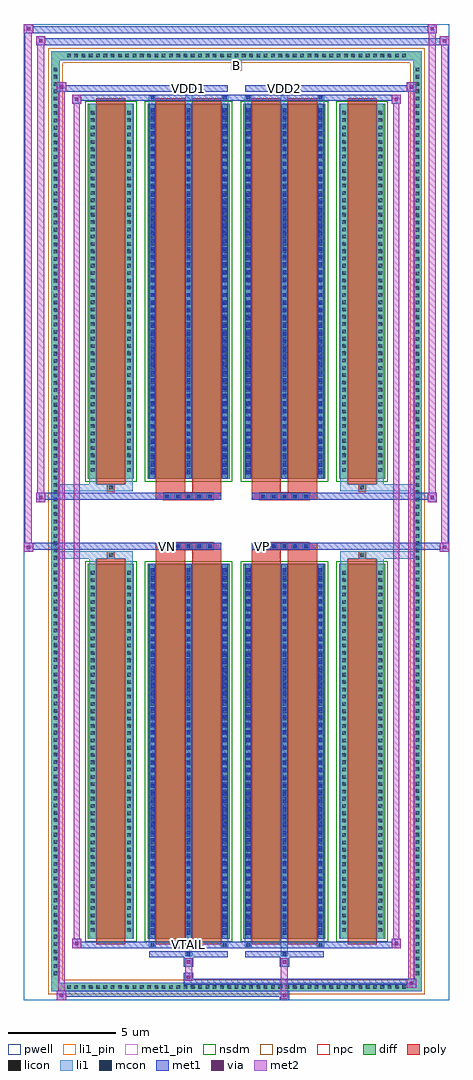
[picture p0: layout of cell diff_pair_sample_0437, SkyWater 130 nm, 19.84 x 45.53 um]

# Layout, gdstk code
import gdstk
lib = gdstk.Library(unit=1e-6, precision=5e-09)
def R(c, l, rs):  # rectangles x0, y0, x1, y1
    for r in rs: c.add(gdstk.rectangle(r[:2], r[2:], *l))
def A(c, l, x, y, w, h, nx, ny, dx, dy):  # array of equal rectangles
    R(c, l, [(x+i*dx, y+j*dy, x+i*dx+w, y+j*dy+h) for i in range(nx) for j in range(ny)])
def P(c, l, *ps):  # polygons
    for p in ps: c.add(gdstk.Polygon(p, *l))
pwell = (64, 44)
diff = (65, 20)
poly = (66, 20)
licon = (66, 44)
li1_pin = (67, 16)
li1 = (67, 20)
mcon = (67, 44)
met1_pin = (68, 16)
met1 = (68, 20)
via = (68, 44)
met2 = (69, 20)
nsdm = (93, 44)
psdm = (94, 20)
npc = (95, 20)

diff_pair_sample_0437 = lib.new_cell('diff_pair_sample_0437')
R(diff_pair_sample_0437, pwell, [(-9.92,-22.33,9.92,23.2), (-7.24,-20.52,-0.01,-0.8), (0.01,-20.52,7.24,-0.8), (-7.24,0.8,-0.01,20.52), (0.01,0.8,7.24,20.52)])
A(diff_pair_sample_0437, diff, -8.025, -21.93, 0.41, 0.41, 47, 2, 0.34, 43.45)
A(diff_pair_sample_0437, diff, -8.65, -21.285, 0.41, 0.41, 1, 125, 0, 0.34)
A(diff_pair_sample_0437, diff, 8.24, -21.285, 0.41, 0.41, 1, 125, 0, 0.34)
R(diff_pair_sample_0437, diff, [(-8.025,-21.93,8.025,-21.52), (-8.65,-21.285,-8.24,21.285), (8.24,-21.285,8.65,21.285), (-6.93,-19.475,-4.79,-1.985), (-4.15,-19.475,-0.32,-1.985), (0.32,-19.475,4.15,-1.985), (4.79,-19.475,6.93,-1.985), (-6.93,1.985,-4.79,19.475), (-4.15,1.985,-0.32,19.475), (0.32,1.985,4.15,19.475), (4.79,1.985,6.93,19.475), (-8.025,21.52,8.025,21.93)])
P(diff_pair_sample_0437, diff, [(8.65,21.93),(-8.65,21.93),(-8.65,-21.52),(-8.24,-21.52),(-8.24,21.52),(8.24,21.52),(8.24,-21.52),(-8.24,-21.52),(-8.65,-21.52),(-8.65,-21.93),(8.65,-21.93)])
A(diff_pair_sample_0437, poly, -3.4, -1.33, 0.33, 0.33, 5, 2, 0.5, 2.33)
A(diff_pair_sample_0437, poly, 1.07, -1.33, 0.33, 0.33, 5, 2, 0.5, 2.33)
R(diff_pair_sample_0437, poly, [(-6.54,-19.725,-5.18,-1.735), (-3.76,-19.725,-2.4,-1.735), (-2.07,-19.725,-0.71,-1.735), (0.71,-19.725,2.07,-1.735), (2.4,-19.725,3.76,-1.735), (5.18,-19.725,6.54,-1.735), (-6.025,-1.735,-5.695,-1.405), (-6.025,-1.735,-5.695,-1.405), (-3.76,-1.735,-2.4,-1.33), (-2.07,-1.735,-0.71,-1.33), (0.71,-1.735,2.07,-1.33), (2.4,-1.735,3.76,-1.33), (5.695,-1.735,6.025,-1.405), (5.695,-1.735,6.025,-1.405), (-3.76,-1.33,-0.71,-1), (0.71,-1.33,3.76,-1), (-3.76,1,-0.71,1.33), (0.71,1,3.76,1.33), (-3.76,1.33,-2.4,1.735), (-2.07,1.33,-0.71,1.735), (0.71,1.33,2.07,1.735), (2.4,1.33,3.76,1.735), (-6.025,1.405,-5.695,1.735), (-6.025,1.405,-5.695,1.735), (5.695,1.405,6.025,1.735), (5.695,1.405,6.025,1.735), (-6.54,1.735,-5.18,19.725), (-3.76,1.735,-2.4,19.725), (-2.07,1.735,-0.71,19.725), (0.71,1.735,2.07,19.725), (2.4,1.735,3.76,19.725), (5.18,1.735,6.54,19.725)])
A(diff_pair_sample_0437, licon, -7.905, -21.81, 0.17, 0.17, 47, 2, 0.34, 43.45)
A(diff_pair_sample_0437, licon, -8.53, -21.165, 0.17, 0.17, 1, 125, 0, 0.34)
A(diff_pair_sample_0437, licon, 8.36, -21.165, 0.17, 0.17, 1, 125, 0, 0.34)
A(diff_pair_sample_0437, licon, -6.79, -19.145, 0.17, 0.17, 1, 50, 0, 0.34)
A(diff_pair_sample_0437, licon, -5.1, -19.145, 0.17, 0.17, 1, 50, 0, 0.34)
A(diff_pair_sample_0437, licon, -4.01, -19.145, 0.17, 0.17, 3, 50, 1.69, 0.34)
A(diff_pair_sample_0437, licon, 0.46, -19.145, 0.17, 0.17, 3, 50, 1.69, 0.34)
A(diff_pair_sample_0437, licon, 4.93, -19.145, 0.17, 0.17, 1, 50, 0, 0.34)
A(diff_pair_sample_0437, licon, 6.62, -19.145, 0.17, 0.17, 1, 50, 0, 0.34)
A(diff_pair_sample_0437, licon, -3.32, -1.25, 0.17, 0.17, 5, 2, 0.5, 2.33)
A(diff_pair_sample_0437, licon, 1.15, -1.25, 0.17, 0.17, 5, 2, 0.5, 2.33)
A(diff_pair_sample_0437, licon, -6.79, 2.315, 0.17, 0.17, 1, 50, 0, 0.34)
A(diff_pair_sample_0437, licon, -5.1, 2.315, 0.17, 0.17, 1, 50, 0, 0.34)
A(diff_pair_sample_0437, licon, -4.01, 2.315, 0.17, 0.17, 3, 50, 1.69, 0.34)
A(diff_pair_sample_0437, licon, 0.46, 2.315, 0.17, 0.17, 3, 50, 1.69, 0.34)
A(diff_pair_sample_0437, licon, 4.93, 2.315, 0.17, 0.17, 1, 50, 0, 0.34)
A(diff_pair_sample_0437, licon, 6.62, 2.315, 0.17, 0.17, 1, 50, 0, 0.34)
R(diff_pair_sample_0437, licon, [(-5.945,-1.655,-5.775,-1.485), (5.775,-1.655,5.945,-1.485), (-5.945,1.485,-5.775,1.655), (5.775,1.485,5.945,1.655)])
R(diff_pair_sample_0437, li1_pin, [(-0.25,21.02,0.25,21.52)])
A(diff_pair_sample_0437, li1, -7.985, -21.89, 0.33, 0.33, 47, 2, 0.34, 43.45)
A(diff_pair_sample_0437, li1, -8.61, -21.245, 0.33, 0.33, 1, 125, 0, 0.34)
A(diff_pair_sample_0437, li1, 8.28, -21.245, 0.33, 0.33, 1, 125, 0, 0.34)
A(diff_pair_sample_0437, li1, -4.09, -19.475, 0.33, 17.49, 3, 2, 1.69, 21.46)
A(diff_pair_sample_0437, li1, 0.38, -19.475, 0.33, 17.49, 3, 2, 1.69, 21.46)
A(diff_pair_sample_0437, li1, -4.01, -19.275, 0.17, 0.17, 3, 48, 1.69, 0.36)
A(diff_pair_sample_0437, li1, -4.01, -19.275, 0.17, 17.09, 3, 2, 1.69, 21.46)
A(diff_pair_sample_0437, li1, 0.46, -19.275, 0.17, 0.17, 3, 48, 1.69, 0.36)
A(diff_pair_sample_0437, li1, 0.46, -19.275, 0.17, 17.09, 3, 2, 1.69, 21.46)
A(diff_pair_sample_0437, li1, -6.87, -19.225, 0.33, 0.33, 1, 50, 0, 0.34)
A(diff_pair_sample_0437, li1, -5.18, -19.225, 0.33, 0.33, 1, 50, 0, 0.34)
A(diff_pair_sample_0437, li1, -4.09, -19.225, 0.33, 0.33, 3, 50, 1.69, 0.34)
A(diff_pair_sample_0437, li1, 0.38, -19.225, 0.33, 0.33, 3, 50, 1.69, 0.34)
A(diff_pair_sample_0437, li1, 4.85, -19.225, 0.33, 0.33, 1, 50, 0, 0.34)
A(diff_pair_sample_0437, li1, 6.54, -19.225, 0.33, 0.33, 1, 50, 0, 0.34)
A(diff_pair_sample_0437, li1, -3.4, -1.33, 0.33, 0.33, 5, 2, 0.5, 2.33)
A(diff_pair_sample_0437, li1, 1.07, -1.33, 0.33, 0.33, 5, 2, 0.5, 2.33)
A(diff_pair_sample_0437, li1, -4.01, 2.185, 0.17, 0.17, 3, 48, 1.69, 0.36)
A(diff_pair_sample_0437, li1, 0.46, 2.185, 0.17, 0.17, 3, 48, 1.69, 0.36)
A(diff_pair_sample_0437, li1, -6.87, 2.235, 0.33, 0.33, 1, 50, 0, 0.34)
A(diff_pair_sample_0437, li1, -5.18, 2.235, 0.33, 0.33, 1, 50, 0, 0.34)
A(diff_pair_sample_0437, li1, -4.09, 2.235, 0.33, 0.33, 3, 50, 1.69, 0.34)
A(diff_pair_sample_0437, li1, 0.38, 2.235, 0.33, 0.33, 3, 50, 1.69, 0.34)
A(diff_pair_sample_0437, li1, 4.85, 2.235, 0.33, 0.33, 1, 50, 0, 0.34)
A(diff_pair_sample_0437, li1, 6.54, 2.235, 0.33, 0.33, 1, 50, 0, 0.34)
R(diff_pair_sample_0437, li1, [(-8.65,-21.93,-8.24,-21.52), (-8.65,-21.93,-8.24,-21.52), (-8.24,-21.93,8.24,-21.52), (8.24,-21.93,8.65,-21.52), (8.24,-21.93,8.65,-21.52), (-8.65,-21.52,-8.24,21.52), (8.24,-21.52,8.65,21.52), (-2.4,-20.28,-2.07,-19.475), (-2.32,-20.28,-2.15,-20.11), (2.07,-20.28,2.4,-19.475), (2.15,-20.28,2.32,-20.11), (-4.09,-19.85,-3.76,-19.475), (-4.01,-19.85,-3.84,-19.68), (-0.71,-19.85,-0.38,-19.475), (-0.63,-19.85,-0.46,-19.68), (0.38,-19.85,0.71,-19.475), (0.46,-19.85,0.63,-19.68), (3.76,-19.85,4.09,-19.475), (3.84,-19.85,4.01,-19.68), (-6.87,-19.475,-6.54,-1.985), (-5.18,-19.475,-4.85,-1.985), (4.85,-19.475,5.18,-1.985), (6.54,-19.475,6.87,-1.985), (-6.87,-1.985,-6.54,-1.405), (-5.18,-1.985,-4.85,-1.405), (4.85,-1.985,5.18,-1.405), (6.54,-1.985,6.87,-1.405), (-8.65,-1.735,-6.025,-1.405), (-6.87,-1.735,-6.025,-1.405), (-6.025,-1.735,-5.695,-1.405), (-5.695,-1.735,-4.85,-1.405), (4.85,-1.735,5.695,-1.405), (5.695,-1.735,6.025,-1.405), (5.695,-1.735,8.65,-1.405), (6.025,-1.735,6.87,-1.405), (-8.65,1.405,-6.025,1.735), (-6.87,1.405,-6.025,1.735), (-6.87,1.405,-6.54,1.985), (-6.025,1.405,-5.695,1.735), (-5.695,1.405,-4.85,1.735), (-5.18,1.405,-4.85,1.985), (4.85,1.405,5.695,1.735), (4.85,1.405,5.18,1.985), (5.695,1.405,6.025,1.735), (5.695,1.405,8.65,1.735), (6.025,1.405,6.87,1.735), (6.54,1.405,6.87,1.985), (-6.87,1.985,-6.54,19.475), (-5.18,1.985,-4.85,19.475), (4.85,1.985,5.18,19.475), (6.54,1.985,6.87,19.475), (-4.09,19.475,-3.76,19.85), (-2.4,19.475,-2.07,20.28), (-0.71,19.475,-0.38,19.85), (0.38,19.475,0.71,19.85), (2.07,19.475,2.4,20.28), (3.76,19.475,4.09,19.85), (-4.01,19.68,-3.84,19.85), (-0.63,19.68,-0.46,19.85), (0.46,19.68,0.63,19.85), (3.84,19.68,4.01,19.85), (-2.32,20.11,-2.15,20.28), (2.15,20.11,2.32,20.28), (-8.65,21.52,-8.24,21.93), (-8.65,21.52,-8.24,21.93), (-8.24,21.52,8.24,21.93), (8.24,21.52,8.65,21.93), (8.24,21.52,8.65,21.93)])
A(diff_pair_sample_0437, mcon, -4.01, -19.275, 0.17, 0.17, 3, 48, 1.69, 0.36)
A(diff_pair_sample_0437, mcon, 0.46, -19.275, 0.17, 0.17, 3, 48, 1.69, 0.36)
A(diff_pair_sample_0437, mcon, -3.32, -1.25, 0.17, 0.17, 5, 2, 0.5, 2.33)
A(diff_pair_sample_0437, mcon, 1.15, -1.25, 0.17, 0.17, 5, 2, 0.5, 2.33)
A(diff_pair_sample_0437, mcon, -4.01, 2.185, 0.17, 0.17, 3, 48, 1.69, 0.36)
A(diff_pair_sample_0437, mcon, 0.46, 2.185, 0.17, 0.17, 3, 48, 1.69, 0.36)
R(diff_pair_sample_0437, mcon, [(-2.32,-20.28,-2.15,-20.11), (2.15,-20.28,2.32,-20.11), (-4.01,-19.85,-3.84,-19.68), (-0.63,-19.85,-0.46,-19.68), (0.46,-19.85,0.63,-19.68), (3.84,-19.85,4.01,-19.68), (-4.01,19.68,-3.84,19.85), (-0.63,19.68,-0.46,19.85), (0.46,19.68,0.63,19.85), (3.84,19.68,4.01,19.85), (-2.32,20.11,-2.15,20.28), (2.15,20.11,2.32,20.28)])
R(diff_pair_sample_0437, met1_pin, [(-2.37,-19.89,-2.1,-19.62), (-3.37,-1.29,-3.1,-1.02), (1.1,-1.29,1.37,-1.02), (-2.37,20.07,-2.1,20.34), (2.1,20.07,2.37,20.34)])
A(diff_pair_sample_0437, met1, -4.07, -19.475, 0.29, 17.49, 3, 2, 1.69, 21.46)
A(diff_pair_sample_0437, met1, 0.4, -19.475, 0.29, 17.49, 3, 2, 1.69, 21.46)
A(diff_pair_sample_0437, met1, -4.07, -19.335, 0.29, 0.29, 3, 48, 1.69, 0.36)
A(diff_pair_sample_0437, met1, 0.4, -19.335, 0.29, 0.29, 3, 48, 1.69, 0.36)
A(diff_pair_sample_0437, met1, -3.38, -1.31, 0.29, 0.29, 5, 2, 0.5, 2.33)
A(diff_pair_sample_0437, met1, 1.09, -1.31, 0.29, 0.29, 5, 2, 0.5, 2.33)
A(diff_pair_sample_0437, met1, -4.07, 2.125, 0.29, 0.29, 3, 48, 1.69, 0.36)
A(diff_pair_sample_0437, met1, 0.4, 2.125, 0.29, 0.29, 3, 48, 1.69, 0.36)
R(diff_pair_sample_0437, met1, [(-8.38,-22.33,-7.95,-21.9), (2.02,-22.33,2.45,-21.9), (-8.38,-22.19,2.45,-21.9), (7.95,-21.76,8.38,-21.33), (-2.45,-21.62,8.38,-21.33), (-2.45,-21.48,-2.02,-21.05), (-2.45,-20.77,-2.02,-20.34), (2.02,-20.77,2.45,-20.34), (-4.07,-20.34,-0.4,-20.05), (-2.38,-20.34,-2.09,-20.05), (0.4,-20.34,4.07,-20.05), (2.09,-20.34,2.38,-20.05), (-7.67,-19.91,-7.24,-19.48), (-7.67,-19.91,-4.07,-19.62), (-4.07,-19.91,-3.78,-19.62), (-4.07,-19.91,-0.4,-19.62), (-0.69,-19.91,-0.4,-19.62), (-0.4,-19.91,0.4,-19.62), (0.4,-19.91,0.69,-19.62), (0.4,-19.91,4.07,-19.62), (3.78,-19.91,4.07,-19.62), (4.07,-19.91,7.67,-19.62), (7.24,-19.91,7.67,-19.48), (-9.92,-1.43,-9.49,-1), (9.49,-1.43,9.92,-1), (-9.92,-1.33,-0.71,-1), (-3.76,-1.33,-0.71,-1), (0.71,-1.33,3.76,-1), (0.71,-1.33,9.92,-1), (-9.35,0.9,-8.92,1.33), (8.92,0.9,9.35,1.33), (-9.35,1,-3.76,1.33), (-3.76,1,-0.71,1.33), (0.71,1,3.76,1.33), (3.76,1,9.35,1.33), (-7.67,19.48,-7.24,19.91), (7.24,19.48,7.67,19.91), (-7.67,19.62,-4.07,19.91), (-4.07,19.62,-3.78,19.91), (-4.07,19.62,-0.4,19.91), (-0.69,19.62,-0.4,19.91), (-0.4,19.62,0.4,19.91), (0.4,19.62,0.69,19.91), (0.4,19.62,4.07,19.91), (3.78,19.62,4.07,19.91), (4.07,19.62,7.67,19.91), (-8.38,20.05,-7.95,20.48), (-8.38,20.05,-4.07,20.34), (-4.07,20.05,-0.4,20.34), (-2.38,20.05,-2.09,20.34), (0.4,20.05,4.07,20.34), (2.09,20.05,2.38,20.34), (4.07,20.05,8.38,20.34), (7.95,20.05,8.38,20.48), (-9.35,22.2,-8.92,22.63), (-9.35,22.2,-7.24,22.53), (-7.24,22.2,7.24,22.53), (7.24,22.2,9.92,22.53), (9.49,22.2,9.92,22.63), (-9.92,22.77,-9.49,23.2), (-9.92,22.77,-7.24,23.1), (-7.24,22.77,7.24,23.1), (7.24,22.77,9.35,23.1), (8.92,22.77,9.35,23.2)])
R(diff_pair_sample_0437, via, [(-8.24,-22.19,-8.09,-22.04), (2.16,-22.19,2.31,-22.04), (8.09,-21.62,8.24,-21.47), (-2.31,-21.34,-2.16,-21.19), (-2.31,-20.63,-2.16,-20.48), (2.16,-20.63,2.31,-20.48), (-7.53,-19.77,-7.38,-19.62), (7.38,-19.77,7.53,-19.62), (-9.78,-1.29,-9.63,-1.14), (9.63,-1.29,9.78,-1.14), (-9.21,1.04,-9.06,1.19), (9.06,1.04,9.21,1.19), (-7.53,19.62,-7.38,19.77), (7.38,19.62,7.53,19.77), (-8.24,20.19,-8.09,20.34), (8.09,20.19,8.24,20.34), (-9.21,22.34,-9.06,22.49), (9.63,22.34,9.78,22.49), (-9.78,22.91,-9.63,23.06), (9.06,22.91,9.21,23.06)])
R(diff_pair_sample_0437, met2, [(-8.38,-22.33,-7.95,-21.9), (-8.31,-22.33,-8.02,20.48), (-8.02,-22.33,-7.95,-21.9), (-8.33,-22.28,-8,-21.95), (2.07,-22.28,2.4,-21.95), (2.07,-21.95,2.4,-20.72), (7.95,-21.76,8.38,-21.33), (8.02,-21.76,8.31,20.48), (8.31,-21.76,8.38,-21.33), (8,-21.71,8.33,-21.38), (-2.4,-21.43,-2.07,-21.1), (-2.4,-21.1,-2.07,-20.72), (-2.4,-20.72,-2.07,-20.39), (2.07,-20.72,2.4,-20.39), (-7.67,-19.91,-7.24,-19.48), (-7.6,-19.91,-7.31,19.91), (-7.31,-19.91,-7.24,-19.48), (7.24,-19.91,7.67,-19.48), (7.31,-19.91,7.6,19.91), (7.6,-19.91,7.67,-19.48), (-7.62,-19.86,-7.29,-19.53), (7.29,-19.86,7.62,-19.53), (-9.92,-1.43,-9.49,-1), (-9.87,-1.43,-9.54,23.2), (-9.54,-1.43,-9.49,-1), (9.49,-1.43,9.92,-1), (9.54,-1.43,9.87,22.63), (9.87,-1.43,9.92,-1), (-9.87,-1.38,-9.54,-1.05), (9.54,-1.38,9.87,-1.05), (-9.35,0.9,-8.92,1.33), (-9.3,0.9,-8.97,22.63), (-8.97,0.9,-8.92,1.33), (8.92,0.9,9.35,1.33), (8.97,0.9,9.3,23.2), (9.3,0.9,9.35,1.33), (-9.3,0.95,-8.97,1.28), (8.97,0.95,9.3,1.28), (-7.67,19.48,-7.24,19.91), (-7.31,19.48,-7.24,19.91), (7.24,19.48,7.67,19.91), (7.6,19.48,7.67,19.91), (-7.62,19.53,-7.29,19.86), (7.29,19.53,7.62,19.86), (-8.38,20.05,-7.95,20.48), (-8.02,20.05,-7.95,20.48), (7.95,20.05,8.38,20.48), (8.31,20.05,8.38,20.48), (-8.33,20.1,-8,20.43), (8,20.1,8.33,20.43), (-9.35,22.2,-8.92,22.63), (-8.97,22.2,-8.92,22.63), (9.49,22.2,9.92,22.63), (9.87,22.2,9.92,22.63), (-9.3,22.25,-8.97,22.58), (9.54,22.25,9.87,22.58), (-9.92,22.77,-9.49,23.2), (-9.54,22.77,-9.49,23.2), (8.92,22.77,9.35,23.2), (9.3,22.77,9.35,23.2), (-9.87,22.82,-9.54,23.15), (8.97,22.82,9.3,23.15)])
R(diff_pair_sample_0437, nsdm, [(-7.06,-19.605,-4.66,-1.855), (-4.28,-19.605,-0.19,-1.855), (0.19,-19.605,4.28,-1.855), (4.66,-19.605,7.06,-1.855), (-7.06,1.855,-4.66,19.605), (-4.28,1.855,-0.19,19.605), (0.19,1.855,4.28,19.605), (4.66,1.855,7.06,19.605)])
P(diff_pair_sample_0437, psdm, [(8.78,22.06),(-8.78,22.06),(-8.78,-21.39),(-8.11,-21.39),(-8.11,21.39),(8.11,21.39),(8.11,-21.39),(-8.11,-21.39),(-8.78,-21.39),(-8.78,-22.06),(8.78,-22.06)])
A(diff_pair_sample_0437, npc, -3.42, -1.35, 0.37, 0.37, 5, 2, 0.5, 2.33)
A(diff_pair_sample_0437, npc, 1.05, -1.35, 0.37, 0.37, 5, 2, 0.5, 2.33)
R(diff_pair_sample_0437, npc, [(-6.045,-1.755,-5.675,-1.385), (5.675,-1.755,6.045,-1.385), (-3.42,-1.35,-2.55,-0.98), (-3.42,-1.35,-2.55,-0.98), (-2.92,-1.35,-2.05,-0.98), (-2.92,-1.35,-2.05,-0.98), (-2.42,-1.35,-1.55,-0.98), (-2.42,-1.35,-1.55,-0.98), (-1.92,-1.35,-1.05,-0.98), (-1.92,-1.35,-1.05,-0.98), (1.05,-1.35,1.92,-0.98), (1.05,-1.35,1.92,-0.98), (1.55,-1.35,2.42,-0.98), (1.55,-1.35,2.42,-0.98), (2.05,-1.35,2.92,-0.98), (2.05,-1.35,2.92,-0.98), (2.55,-1.35,3.42,-0.98), (2.55,-1.35,3.42,-0.98), (-3.42,0.98,-2.55,1.35), (-3.42,0.98,-2.55,1.35), (-2.92,0.98,-2.05,1.35), (-2.92,0.98,-2.05,1.35), (-2.42,0.98,-1.55,1.35), (-2.42,0.98,-1.55,1.35), (-1.92,0.98,-1.05,1.35), (-1.92,0.98,-1.05,1.35), (1.05,0.98,1.92,1.35), (1.05,0.98,1.92,1.35), (1.55,0.98,2.42,1.35), (1.55,0.98,2.42,1.35), (2.05,0.98,2.92,1.35), (2.05,0.98,2.92,1.35), (2.55,0.98,3.42,1.35), (2.55,0.98,3.42,1.35), (-6.045,1.385,-5.675,1.755), (5.675,1.385,6.045,1.755)])
diff_pair_sample_0437.add(gdstk.Label('VTAIL', (-2.235,-19.755), layer=68, texttype=5))
diff_pair_sample_0437.add(gdstk.Label('VN', (-3.235,-1.155), layer=68, texttype=5))
diff_pair_sample_0437.add(gdstk.Label('VP', (1.235,-1.155), layer=68, texttype=5))
diff_pair_sample_0437.add(gdstk.Label('B', (0,21.27), layer=67, texttype=5))
diff_pair_sample_0437.add(gdstk.Label('VDD2', (2.235,20.205), layer=68, texttype=5))
diff_pair_sample_0437.add(gdstk.Label('VDD1', (-2.235,20.205), layer=68, texttype=5))

lib.write_gds('diff_pair_sample_0437.gds')
